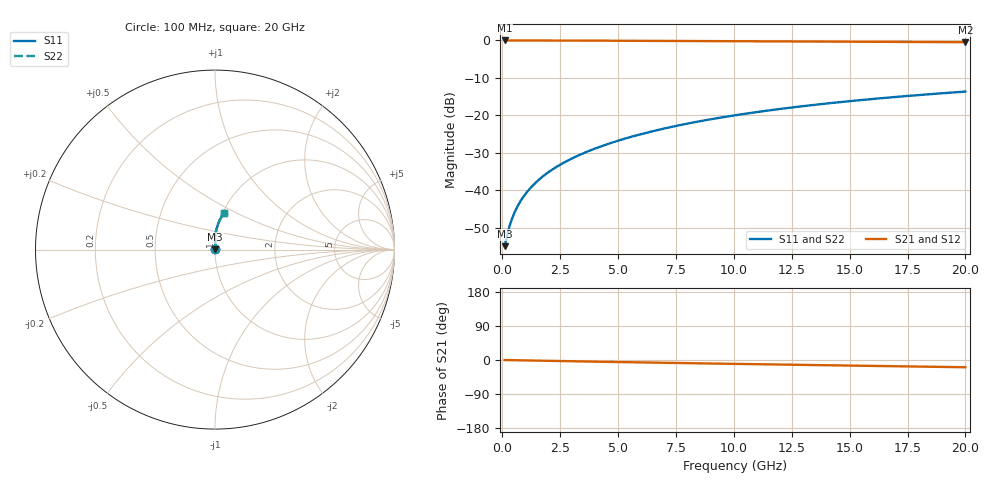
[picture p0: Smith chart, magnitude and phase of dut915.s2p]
! Touchstone file exported from HFSS 2024.1.0
!  File:  C:/UserFiles/LocalFiles/RDL_TSV_Batchsim/temp_RDL_top_915_1779936213.aedt
!  Generated:  10:46:54 AM May 28, 2026
!  Design:  RDL_top
!  Project:  temp_RDL_top_915_1779936213
!  Setup:  Setup1
!  Solution:  Sweep
! Variables:
!  dtsv = 10.80580581um
!  hbump = 3um
!  htsv = 90.33um
!  ldown = 100um
!  lrdl = 221.16um
!  p = 40
!  p1 = 57.89um
!  rhole = 1um
!  t = 450um
!  tdown = 3.915915916um
!  trdl = 2.5um
!  wdown = 15.38538539um
!  wrdl = 26.93um
# GHz S MA R 50.000000
! Terminal data exported
! Port[1] = Box2_T1
! Port[2] = Box2_T2
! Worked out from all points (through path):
!   200 points, 100 MHz to 20 GHz, reference 50 ohm
!   highest |S21| = -0.01 dB at 100 MHz (marker M1); lowest = -0.5 dB at 20 GHz (marker M2)
!   group delay of S21, straight-line fit = 2.62 ps
!   lowest |S11| = -54.9 dB at 100 MHz (marker M3), VSWR 1.00, Z = 50.2 + j0.0951 ohm
!   |S11| at or under -10 dB: start of sweep to end of sweep
!   |S22| runs from -54.9 to -13.7 dB; largest |S21 - S12| = 4.2e-15
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0.1  0.001792 31.9  0.9985 -0.1  0.9985 -0.1  0.001792 31.9
! Gamma 0 0 0 0
! Port Impedance 50 0 50 0
0.2  0.002444 50.1  0.9984 -0.2  0.9984 -0.2  0.002444 50.1
0.3  0.003211 59.6  0.9983 -0.3  0.9983 -0.3  0.003211 59.6
0.4  0.004008 65.3  0.9982 -0.5  0.9982 -0.5  0.004008 65.3
0.5  0.004814 69.2  0.9981 -0.6  0.9981 -0.6  0.004814 69.2
0.6  0.005623 72.0  0.998 -0.7  0.998 -0.7  0.005623 72.0
0.8  0.007256 76.0  0.9979 -0.9  0.9979 -0.9  0.007256 76.0
1.1  0.009746 79.8  0.9976 -1.2  0.9976 -1.2  0.009746 79.8
1.3  0.01143 81.6  0.9974 -1.5  0.9974 -1.5  0.01143 81.6
1.6  0.01399 83.5  0.997 -1.8  0.997 -1.8  0.01399 83.5
2.1  0.01835 85.7  0.9963 -2.3  0.9963 -2.3  0.01835 85.7
2.7  0.02373 87.4  0.9953 -3.0  0.9953 -3.0  0.02373 87.4
3.5  0.03115 88.8  0.9936 -3.8  0.9936 -3.8  0.03115 88.8
4.2  0.03788 89.5  0.992 -4.6  0.992 -4.6  0.03788 89.5
5  0.04585 89.9  0.9899 -5.4  0.9899 -5.4  0.04585 89.9
5.9  0.0551 89.9  0.9874 -6.3  0.9874 -6.3  0.0551 89.9
6.8  0.06461 89.6  0.9848 -7.2  0.9848 -7.2  0.06461 89.6
8.4  0.08195 88.7  0.9801 -8.7  0.9801 -8.7  0.08195 88.7
10.1  0.1007 87.2  0.9752 -10.3  0.9752 -10.3  0.1007 87.2
13.4  0.1372 83.8  0.9657 -13.3  0.9657 -13.3  0.1372 83.8
16.7  0.1729 80.2  0.9563 -16.2  0.9563 -16.2  0.1729 80.2
20  0.2075 76.8  0.9467 -19.1  0.9467 -19.1  0.2075 76.8
